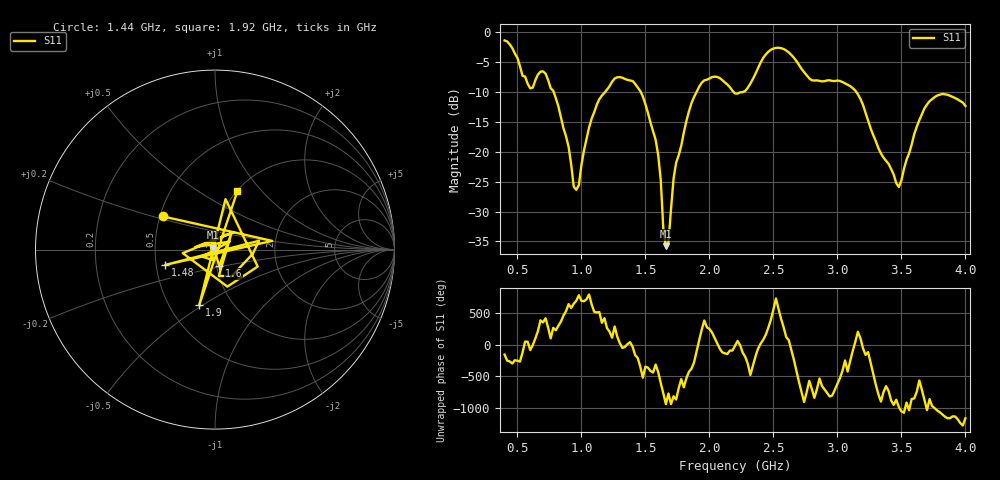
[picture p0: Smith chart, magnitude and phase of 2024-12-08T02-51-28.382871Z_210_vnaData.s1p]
!Created with skrf (http://scikit-rf.org).
# Hz S RI R 50.0
!freq ReS11 ImS11
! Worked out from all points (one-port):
!   181 points, 400 MHz to 4 GHz, reference 50 ohm
!   lowest |S11| = -35.8 dB at 1.66 GHz (marker M1), VSWR 1.03, Z = 48.8 + j1.1 ohm
!   |S11| at or under -10 dB: 783.6 MHz to 1.185 GHz (401.2 MHz wide, 40.8 % of centre); 1.464 GHz to 1.899 GHz (435.1 MHz wide, 25.9 % of centre); 3.148 GHz to end of sweep (the widest 3 of 4)
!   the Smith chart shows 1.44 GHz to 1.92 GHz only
!   S11 on the Smith chart (normalised r, x): 1.44 GHz: 0.52, +0.22; 1.48 GHz: 0.56, -0.10; 1.6 GHz: 1.03, -0.19; 1.9 GHz: 0.71, -0.48; 1.92 GHz: 1.01, +0.75
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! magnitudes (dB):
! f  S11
! 400 MHz  -1.4
! 600 MHz  -9.4
! 720 MHz  -6.9
! 860 MHz  -16.1
! 960 MHz  -26.4
! 1.12 GHz  -12.1
! 1.3 GHz  -7.5
! 1.44 GHz  -9.2
! 1.48 GHz  -10.7
! 1.6 GHz  -20.6
! 1.62 GHz  -24.8
! 1.64 GHz  -32.9
! 1.66 GHz  -35.8
! 1.68 GHz  -35.1
! 1.72 GHz  -24.5
! 1.76 GHz  -20.6
! 1.9 GHz  -9.9
! 1.92 GHz  -9.1
! 2.06 GHz  -7.5
! 2.2 GHz  -10.2
! 2.48 GHz  -2.9
! 2.66 GHz  -4.3
! 2.8 GHz  -8.0
! 3.1 GHz  -9.0
! 3.48 GHz  -25.9
! 3.56 GHz  -20.3
! 3.72 GHz  -11.5
! 4 GHz  -12.3
